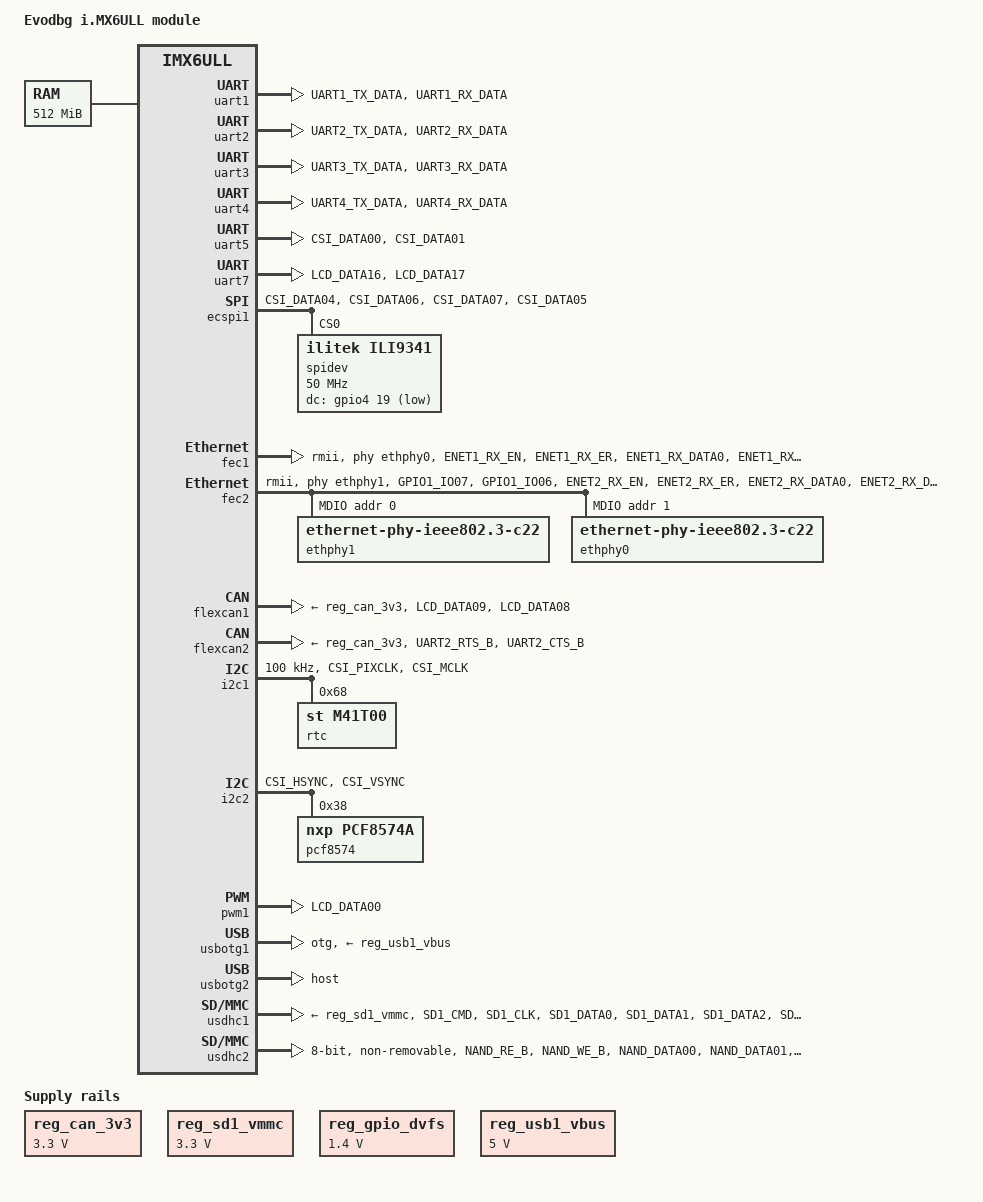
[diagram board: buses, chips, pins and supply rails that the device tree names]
 /*
 * Copyright (C) 2015 Freescale Semiconductor, Inc.
 *
 * This program is free software; you can redistribute it and/or modify
 * it under the terms of the GNU General Public License version 2 as
 * published by the Free Software Foundation.
 */

 /*
  * EV-iMX6UL-NANO module
  * www.evodbg.com
  * contact  r.sariev@evodbg.com
  */ 

/dts-v1/;

#include <dt-bindings/input/input.h>
#include "imx6ull.dtsi"

#define DUAL_ETH   // Comment this line for modules with one Ethernet PHY chip

/ {
	model = "Evodbg i.MX6ULL module";
	compatible = "fsl,imx6ull-14x14-evk", "fsl,imx6ull";

	chosen {
		stdout-path = &uart1;
	};

	memory {
		reg = <0x80000000 0x20000000>;
	};

	reserved-memory {
		#address-cells = <1>;
		#size-cells = <1>;
		ranges;

		linux,cma {
			compatible = "shared-dma-pool";
			reusable;
			size = <0x14000000>;
			linux,cma-default;
		};
	};

	regulators {
		compatible = "simple-bus";
		#address-cells = <1>;
		#size-cells = <0>;

		reg_can_3v3: regulator@0 {
			compatible = "regulator-fixed";
			reg = <0>;
			regulator-name = "can-3v3";
			regulator-min-microvolt = <3300000>;
			regulator-max-microvolt = <3300000>;
			regulator-always-on;
		};

		reg_sd1_vmmc: regulator@1 {
			compatible = "regulator-fixed";
			regulator-name = "VSD_3V3";
			regulator-min-microvolt = <3300000>;
			regulator-max-microvolt = <3300000>;
			regulator-always-on;
		};
		
		reg_gpio_dvfs: regulator-gpio {
                        compatible = "regulator-fixed";
                        regulator-min-microvolt = <1400000>;
                        regulator-max-microvolt = <1400000>;
                        regulator-name = "gpio_dvfs";
                        regulator-always-on;
                };

		reg_usb1_vbus: regulator@2 {
			reg = <2>;
			compatible = "regulator-fixed";
			regulator-name = "usb1_vbus";
			regulator-min-microvolt = <5000000>;
			regulator-max-microvolt = <5000000>;

//			pinctrl-names = "default";
//			pinctrl-0 = <&pinctrl_usb1vbus_gpio>;

//			gpio = <&gpio3 10 1>;
//			enable-active-high;
//			regulator-boot-on;
			regulator-always-on;
		};
	};
 
	sound {
	};
};

&cpu0 {
	arm-supply = <&reg_arm>;
	soc-supply = <&reg_soc>;
	dc-supply = <&reg_gpio_dvfs>;
};

&clks {
	assigned-clocks = <&clks IMX6UL_CLK_PLL4_AUDIO_DIV>;
	assigned-clock-rates = <786432000>;
};

&csi {
	status = "disabled";
};

&uart1 {					// DUAURT console
	pinctrl-names = "default";
	pinctrl-0 = <&pinctrl_uart1>;
	status = "okay";
};


&uart2 { 					// UART2
	pinctrl-names = "default";
	pinctrl-0 = <&pinctrl_uart2>;
	status = "okay";
};


&uart3 {					// UART3
	pinctrl-names = "default";
	pinctrl-0 = <&pinctrl_uart3>;
	status = "okay";
};


&uart4 {					// UART4
	pinctrl-names = "default";
	pinctrl-0 = <&pinctrl_uart4>;
	status = "okay";
};


&uart5 {					// UART5
	pinctrl-names = "default";
	pinctrl-0 = <&pinctrl_uart5>;
	status = "okay";
};

&uart7 {					// UART7 (Audio connector)
	pinctrl-names = "defualt";
	pinctrl-0 = <&pinctrl_uart7>;
	status = "okay";
};


&ecspi1 {
	fsl,spi-num-chipselects = <1>;
	pinctrl-names = "default";
	pinctrl-0 = <&pinctrl_ecspi1>;
	status = "okay";

	spidev@0 {                                                                                                                                            ││ imx6ull-smartmachines-v3.dts                           │  18346│May  1 13:55││ ethernut5.dts                                          │   1428│Sep  7  2017│
                rotate = <90>;                                                                                                                                ││ imx6ull.dtsi                                           │  34787│May  1 13:55││ ev-imx6ul-m2.dts                                       │  10563│Apr 14 17:51│
                bgr;                                                                                                                                          ││ imx7-colibri-eval-v3.dtsi                              │   3247│Sep  7  2017││ ev-imx6ul-nano-router.dts                              │  10717│Apr 14 17:51│
                fps = <30>;                                                                                                                                   ││ imx7-colibri.dtsi                                      │  17632│Sep  7  2017││ ev-imx6ul-nano.dts                                     │  13369│Apr 14 17:51│
                compatible = "ilitek,ili9341";                                                                                                                ││ imx7d-12x12-ddr3-arm2.dts                              │  12882│Sep  7  2017││ ev-imx6ul-sodimm.dts                                   │  18883│Apr 14 17:51│
                spi-max-frequency = <50000000>;                                                                                                               ││ imx7d-12x12-lpddr3-arm2-ecspi.dts                      │    583│Sep  7  2017││ evk-pro3.dts                                           │    928│Sep  7  2017│
                reg = <0>;                                                                                                                                    ││ imx7d-12x12-lpddr3-arm2-enet2.dts                      │    360│Sep  7  2017││ exynos-mfc-reserved-memory.dtsi                        │    734│Sep  7  2017│
                regwidth = <8>;                                                                                                                               ││ imx7d-12x12-lpddr3-arm2-flexcan.dts                    │    453│Sep  7  2017││ exynos-syscon-restart.dtsi                             │    664│Sep  7  2017│
                buswidth = <8>;                                                                                                                               ││ imx7d-12x12-lpddr3-arm2-m4.dts                         │    800│Sep  7  2017││ exynos3250-artik5-eval.dts                             │   1122│Sep  7  2017│
                verbose = <3>;                                                                                                                                ││ imx7d-12x12-lpddr3-arm2-mipi_dsi.dts                   │    639│Sep  7  2017││ exynos3250-artik5.dtsi                                 │   7859│Sep  7  2017│
                dc-gpios = <&gpio4 19 GPIO_ACTIVE_LOW>;    // CSI_VSYNC       
	};
};



#if defined(DUAL_ETH)

&fec1 {
	pinctrl-names = "default";
	pinctrl-0 = <&pinctrl_enet1>;
	phy-mode = "rmii";
	phy-reset-gpios = <&gpio5 1 1>;
	phy-reset-duration = <100>;
	phy-handle = <&ethphy0>;
	status = "okay";
};



&fec2 {
	pinctrl-names = "default";
	pinctrl-0 = <&pinctrl_enet2>;
	phy-mode = "rmii";
	phy-reset-gpios = <&gpio5 1 1>;
	phy-reset-duration = <100>;
	phy-handle = <&ethphy1>;
	status = "okay";

	mdio {
		#address-cells = <1>;
		#size-cells = <0>;

		ethphy1: ethernet-phy@0 {
			compatible = "ethernet-phy-ieee802.3-c22";
			reg = <0>;
		};

		ethphy0: ethernet-phy@1 {
			compatible = "ethernet-phy-ieee802.3-c22";
			reg = <1>;
		};
	};
};

#else

&fec1 {
	pinctrl-names = "default";
	pinctrl-0 = <&pinctrl_enet1>;
	phy-mode = "rmii";
	phy-reset-gpios = <&gpio5 1 1>;
	phy-reset-duration = <100>;
	phy-handle = <&ethphy0>;
	status = "okay";

	mdio {
		#address-cells = <1>;
		#size-cells = <0>;

		ethphy0: ethernet-phy@0 {
			compatible = "ethernet-phy-ieee802.3-c22";
			reg = <0>;
		};
	};
};

#endif













&flexcan1 {
	pinctrl-names = "default";
	pinctrl-0 = <&pinctrl_flexcan1>;
	xceiver-supply = <&reg_can_3v3>;
	status = "okay";
};

/* flexcan2 muxed with UART2 RTS/CTS pins */
&flexcan2 {
	pinctrl-names = "default";
	pinctrl-0 = <&pinctrl_flexcan2>;
	xceiver-supply = <&reg_can_3v3>;
	status = "okay";
};

&gpc {
	fsl,cpu_pupscr_sw2iso = <0x1>;
	fsl,cpu_pupscr_sw = <0x0>;
	fsl,cpu_pdnscr_iso2sw = <0x1>;
	fsl,cpu_pdnscr_iso = <0x1>;
	fsl,ldo-bypass = <0>; /* DCDC, ldo-enable */
};


&i2c1 {
	clock-frequency = <100000>;
	pinctrl-names = "default";
	pinctrl-0 = <&pinctrl_i2c1>;
	status = "okay";

	rtc: m41t00@68 {
                compatible = "st,m41t00";
                reg = <0x68>;
        };
};


&i2c2 {
	clock_frequency = <100000>;
	pinctrl-names = "default";
	pinctrl-0 = <&pinctrl_i2c2>;
	status = "okay";

	pcf8574: gpio@38 {                                      
                compatible = "nxp,pcf8574a";
                reg = <0x38>;                                   // PCF8574A Address -0-0-0
                gpio-controller;
                #gpio-cells = <2>;

//                interrupt-parent = <&gpio4>;			// UART5_RTS  For using PCF8574 as input. Uncomment also in pinctrl_i2c2: i2c2grp
//                interrupts = <23 IRQ_TYPE_LEVEL_LOW>;
//                interrupt-controller;
//                #interrupt-cells = <2>;





        };


};




&iomuxc {
	pinctrl-names = "default";
	pinctrl-0 = <&pinctrl_hog_1>;
	imx6ul-evk {
		pinctrl_hog_1: hoggrp-1 {
			fsl,pins = <


				MX6UL_PAD_UART3_RTS_B__GPIO1_IO27	0x1b0b0		/* GPIO 27 	*/
				MX6UL_PAD_CSI_DATA02__GPIO4_IO23	0x1b0b0		/* GPIO 119 	if ising as interrupt input for PCF8574 - comment this line */
				MX6UL_PAD_LCD_DATA05__GPIO3_IO10	0x1b0b0		/* GPIO 74	*/

			>;
		};



		pinctrl_enet1: enet1grp {
			fsl,pins = <
#if defined(DUAL_ETH)

#else
				MX6UL_PAD_GPIO1_IO07__ENET1_MDC		0x1b0b0
				MX6UL_PAD_GPIO1_IO06__ENET1_MDIO	0x1b0b0
			
#endif
				MX6UL_PAD_ENET1_RX_EN__ENET1_RX_EN	0x1b0b0
				MX6UL_PAD_ENET1_RX_ER__ENET1_RX_ER	0x1b0b0
				MX6UL_PAD_ENET1_RX_DATA0__ENET1_RDATA00	0x1b0b0
				MX6UL_PAD_ENET1_RX_DATA1__ENET1_RDATA01	0x1b0b0
				MX6UL_PAD_ENET1_TX_EN__ENET1_TX_EN	0x1b0b0
				MX6UL_PAD_ENET1_TX_DATA0__ENET1_TDATA00	0x1b0b0
				MX6UL_PAD_ENET1_TX_DATA1__ENET1_TDATA01	0x1b0b0
				MX6UL_PAD_ENET1_TX_CLK__ENET1_REF_CLK1	0x4001b031
			>;
		};

		pinctrl_enet2: enet2grp {
			fsl,pins = <
				MX6UL_PAD_GPIO1_IO07__ENET2_MDC		0x1b0b0
				MX6UL_PAD_GPIO1_IO06__ENET2_MDIO	0x1b0b0
				MX6UL_PAD_ENET2_RX_EN__ENET2_RX_EN	0x1b0b0
				MX6UL_PAD_ENET2_RX_ER__ENET2_RX_ER	0x1b0b0
				MX6UL_PAD_ENET2_RX_DATA0__ENET2_RDATA00	0x1b0b0
				MX6UL_PAD_ENET2_RX_DATA1__ENET2_RDATA01	0x1b0b0
				MX6UL_PAD_ENET2_TX_EN__ENET2_TX_EN	0x1b0b0
				MX6UL_PAD_ENET2_TX_DATA0__ENET2_TDATA00	0x1b0b0
				MX6UL_PAD_ENET2_TX_DATA1__ENET2_TDATA01	0x1b0b0
				MX6UL_PAD_ENET2_TX_CLK__ENET2_REF_CLK2	0x4001b031
			>;
		};

		pinctrl_flexcan1: flexcan1grp{
			fsl,pins = <
				MX6UL_PAD_LCD_DATA09__FLEXCAN1_RX	0x1b020  // check ok
				MX6UL_PAD_LCD_DATA08__FLEXCAN1_TX	0x1b020
			>;
		};

		pinctrl_flexcan2: flexcan2grp{
			fsl,pins = <
				MX6UL_PAD_UART2_RTS_B__FLEXCAN2_RX	0x1b020  // check ok
				MX6UL_PAD_UART2_CTS_B__FLEXCAN2_TX	0x1b020
			>;
		};

		pinctrl_i2c1: i2c1grp {
			fsl,pins = <
				MX6UL_PAD_CSI_PIXCLK__I2C1_SCL 		0x4001b8b0 // check ok
				MX6UL_PAD_CSI_MCLK__I2C1_SDA 		0x4001b8b0
			>;
		};

		pinctrl_i2c2: i2c2grp {
			fsl,pins = <
				MX6UL_PAD_CSI_HSYNC__I2C2_SCL 		0x4001b8b0 // check ok
				MX6UL_PAD_CSI_VSYNC__I2C2_SDA 		0x4001b8b0
//				MX6UL_PAD_CSI_DATA02__GPIO4_IO23	0x30b0	   /* I2C2 PCF8574 Interrupt input GPIO 119 <-->*/
			>;
		};


		pinctrl_pwm1: pwm1grp {
			fsl,pins = <
				MX6UL_PAD_LCD_DATA00__PWM1_OUT   	0x110b0		// audio connector
			>;
		};

		pinctrl_pwm2: pwm2grp {
			fsl,pins = <
				MX6UL_PAD_LCD_DATA01__PWM2_OUT		0x110b0		// audio connector
			>;
		};

		pinctrl_sai2: sai2grp {
			fsl,pins = <
				MX6UL_PAD_JTAG_TDI__SAI2_TX_BCLK	0x17088		// audio connector
				MX6UL_PAD_JTAG_TDO__SAI2_TX_SYNC	0x17088
				MX6UL_PAD_JTAG_TRST_B__SAI2_TX_DATA	0x11088
				MX6UL_PAD_JTAG_TCK__SAI2_RX_DATA	0x11088
//				MX6UL_PAD_JTAG_TMS__GPIO1_IO11		0x17088 
			>;
		};

		pinctrl_ecspi1: spi1grp {
			fsl,pins = <
				MX6UL_PAD_CSI_DATA04__ECSPI1_SCLK	0x1b0b1
				MX6UL_PAD_CSI_DATA06__ECSPI1_MOSI	0x1b0b1
				MX6UL_PAD_CSI_DATA07__ECSPI1_MISO	0x1b0b1
				MX6UL_PAD_CSI_DATA05__ECSPI1_SS0	0x1b0b1
			>;
		};

		pinctrl_uart1: uart1grp {
			fsl,pins = <
				MX6UL_PAD_UART1_TX_DATA__UART1_DCE_TX 0x1b0b1		// check ok
				MX6UL_PAD_UART1_RX_DATA__UART1_DCE_RX 0x1b0b15
			>;
		};

		pinctrl_uart2: uart2grp {
			fsl,pins = <
				MX6UL_PAD_UART2_TX_DATA__UART2_DCE_TX	0x1b0b1		// check ok
				MX6UL_PAD_UART2_RX_DATA__UART2_DCE_RX	0x1b0b1
			>;
		};

		pinctrl_uart3: uart3grp {
			fsl,pins = <
				MX6UL_PAD_UART3_TX_DATA__UART3_DCE_TX	0x1b0b1		// check ok
				MX6UL_PAD_UART3_RX_DATA__UART3_DCE_RX	0x1b0b1
			>;
		};

		pinctrl_uart4: uart4grp {
			fsl,pins = <
				MX6UL_PAD_UART4_TX_DATA__UART4_DCE_TX	0x1b0b1		// check ok
				MX6UL_PAD_UART4_RX_DATA__UART4_DCE_RX	0x1b0b1
			>;
		};

		pinctrl_uart5: uart5grp {
			fsl,pins = <
				MX6UL_PAD_CSI_DATA00__UART5_DCE_TX	0x1b0b1		// check ok
				MX6UL_PAD_CSI_DATA01__UART5_DCE_RX	0x1b0b1
			>;
		};

		pinctrl_uart7: uart7grp {
			fsl,pins = <
				MX6UL_PAD_LCD_DATA16__UART7_DCE_TX	0x1b0b1 	// Audio connector
				MX6UL_PAD_LCD_DATA17__UART7_DCE_RX	0x1b0b1
			>;
		};

		pinctrl_usdhc1: usdhc1grp {
			fsl,pins = <
				MX6UL_PAD_SD1_CMD__USDHC1_CMD     0x17059		// check ok
				MX6UL_PAD_SD1_CLK__USDHC1_CLK     0x10071
				MX6UL_PAD_SD1_DATA0__USDHC1_DATA0 0x17059
				MX6UL_PAD_SD1_DATA1__USDHC1_DATA1 0x17059
				MX6UL_PAD_SD1_DATA2__USDHC1_DATA2 0x17059
				MX6UL_PAD_SD1_DATA3__USDHC1_DATA3 0x17059
			>;
		};

		pinctrl_usdhc1_100mhz: usdhc1grp100mhz {
			fsl,pins = <
				MX6UL_PAD_SD1_CMD__USDHC1_CMD     0x170b9
				MX6UL_PAD_SD1_CLK__USDHC1_CLK     0x100b9
				MX6UL_PAD_SD1_DATA0__USDHC1_DATA0 0x170b9
				MX6UL_PAD_SD1_DATA1__USDHC1_DATA1 0x170b9
				MX6UL_PAD_SD1_DATA2__USDHC1_DATA2 0x170b9
				MX6UL_PAD_SD1_DATA3__USDHC1_DATA3 0x170b9
			>;
		};

		pinctrl_usdhc1_200mhz: usdhc1grp200mhz {
			fsl,pins = <
				MX6UL_PAD_SD1_CMD__USDHC1_CMD     0x170f9
				MX6UL_PAD_SD1_CLK__USDHC1_CLK     0x100f9
				MX6UL_PAD_SD1_DATA0__USDHC1_DATA0 0x170f9
				MX6UL_PAD_SD1_DATA1__USDHC1_DATA1 0x170f9
				MX6UL_PAD_SD1_DATA2__USDHC1_DATA2 0x170f9
				MX6UL_PAD_SD1_DATA3__USDHC1_DATA3 0x170f9
			>;
		};

		pinctrl_usdhc2: usdhc2grp {
			fsl,pins = <
				MX6UL_PAD_NAND_RE_B__USDHC2_CLK     0x10069
				MX6UL_PAD_NAND_WE_B__USDHC2_CMD     0x17059
				MX6UL_PAD_NAND_DATA00__USDHC2_DATA0 0x17059
				MX6UL_PAD_NAND_DATA01__USDHC2_DATA1 0x17059
				MX6UL_PAD_NAND_DATA02__USDHC2_DATA2 0x17059
				MX6UL_PAD_NAND_DATA03__USDHC2_DATA3 0x17059
				MX6UL_PAD_NAND_DATA04__USDHC2_DATA4 0x17059
				MX6UL_PAD_NAND_DATA05__USDHC2_DATA5 0x17059
				MX6UL_PAD_NAND_DATA06__USDHC2_DATA6 0x17059
				MX6UL_PAD_NAND_DATA07__USDHC2_DATA7 0x17059

			>;
		};

		pinctrl_wdog: wdoggrp {
			fsl,pins = <
				MX6UL_PAD_LCD_RESET__WDOG1_WDOG_ANY    0x30b0
			>;
		};
	};
};

/*
&lcdif {
	pinctrl-names = "default";
	pinctrl-0 = <&pinctrl_lcdif_dat
		     &pinctrl_lcdif_ctrl>;
	display = <&display0>;
	status = "okay";

	display0: display@di0 {
		bits-per-pixel = <16>;
		bus-width = <24>;
		status = "okay";  //ruslan

	display-timings {
//		native-mode = <&timing0>; // ruslan

		ltn101 {
                        clock-frequency = <54200000>;
                        hactive = <1024>;
                        vactive = <600>;
                        hfront-porch = <24>;
                        hback-porch = <160>;
                        hsync-len = <136>;
                        vback-porch = <61>;
                        vfront-porch = <3>;
                        vsync-len = <6>;

                        hsync-active = <0>;
                        vsync-active = <0>;
                        de-active = <1>;
                        pixelclk-active = <0>;
                        };
                };
        };
};

*/
          



&pwm1 {
	pinctrl-names = "default";
	pinctrl-0 = <&pinctrl_pwm1>;
	status = "okay";
};


&usbotg1 {
	vbus-supply = <&reg_usb1_vbus>;
	dr_mode = "otg";
	srp-disable;
	hnp-disable;
	adp-disable;
	status = "okay";
};

&usbotg2 {
	dr_mode = "host";
	disable-over-current;
	status = "okay";
};

&usbphy1 {
	tx-d-cal = <0x5>;
};

&usbphy2 {
	tx-d-cal = <0x5>;
};

&usdhc1 {
        pinctrl-names = "default", "state_100mhz", "state_200mhz";
        pinctrl-0 = <&pinctrl_usdhc1>;
        pinctrl-1 = <&pinctrl_usdhc1_100mhz>;
        pinctrl-2 = <&pinctrl_usdhc1_200mhz>;
        cd-gpios = <&gpio1 19 GPIO_ACTIVE_LOW>;
        keep-power-in-suspend;
        enable-sdio-wakeup;
        vmmc-supply = <&reg_sd1_vmmc>;
        status = "okay";
};

&usdhc2 {
	pinctrl-names = "default";
	pinctrl-0 = <&pinctrl_usdhc2>;
	bus-width = <8>;
	no-1-8-v;
	non-removable;
	keep-power-in-suspend;
	enable-sdio-wakeup;
	status = "okay";
};

&wdog1 {
	pinctrl-names = "default";
	pinctrl-0 = <&pinctrl_wdog>;
	fsl,wdog_b;
};
